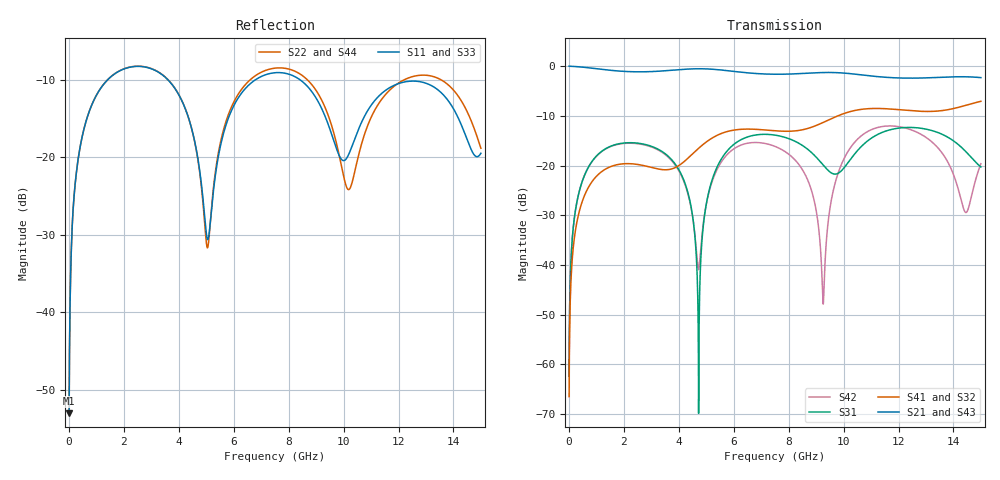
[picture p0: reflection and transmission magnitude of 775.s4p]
! Created with skrf 1.8.0 (http://scikit-rf.org).
# GHz S RI R 50.0
!freq ReS11 ImS11 ReS12 ImS12 ReS13 ImS13
! ReS14 ImS14
! ReS21 ImS21 ReS22 ImS22 ReS23 ImS23
! ReS24 ImS24
! ReS31 ImS31 ReS32 ImS32 ReS33 ImS33
! ReS34 ImS34
! ReS41 ImS41 ReS42 ImS42 ReS43 ImS43
! ReS44 ImS44
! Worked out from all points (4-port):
!   2499 points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, 5 MHz to 15 GHz, reference 50 ohm
!   strongest paths, dB at 5 MHz, 3.476 GHz, 7.19 GHz, 11.1 GHz, 15 GHz:
!     S21: 0.0, -1.0, -1.6, -2.0, -2.3
!     S43: 0.0, -0.9, -1.6, -2.0, -2.3
!     S41: -66.5, -20.9, -12.9, -8.5, -7.1
!     S32: -66.5, -20.9, -12.9, -8.6, -7.1
!     S31: -62.4, -17.5, -13.7, -14.2, -20.3
!     S42: -62.4, -17.7, -15.6, -12.6, -19.6
!   lowest |S11| = -53.1 dB at 5 MHz (marker M1), VSWR 1.00, Z = 50.2 + j0.134 ohm
!   |S11| at or under -10 dB: start of sweep to 1.4 GHz; 3.61 GHz to 6.777 GHz (3.167 GHz wide, 61 % of centre); 8.426 GHz to end of sweep
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0.005  0.00177 0.00134  0.9982 -0.00345  9.14e-05 0.000755  -8.84e-05 -0.000465
       0.9982 -0.00345  0.00177 0.00134  -8.84e-05 -0.000465  9.13e-05 0.000755
       9.14e-05 0.000755  -8.84e-05 -0.000465  0.00177 0.00134  0.9982 -0.00345
       -8.84e-05 -0.000465  9.13e-05 0.000755  0.9982 -0.00345  0.00177 0.00134
1.519383  0.2852 0.1681  0.51 -0.7499  0.145 0.0586  -0.0975 0.00112
          0.51 -0.7499  0.2865 0.167  -0.0974 0.000932  0.1417 0.0634
          0.145 0.0586  -0.0974 0.000932  0.2852 0.168  0.51 -0.7498
          -0.0975 0.00112  0.1417 0.0634  0.51 -0.7498  0.2864 0.1671
4.720717  0.0451 -0.0801  -0.8999 -0.2727  -0.000241 -0.000213  -0.0376 0.1442
          -0.8999 -0.2727  0.0409 -0.0802  -0.04 0.1436  -0.00897 -0.000547
          -0.000241 -0.000213  -0.04 0.1436  0.0447 -0.0791  -0.9001 -0.2725
          -0.0376 0.1442  -0.00897 -0.000547  -0.9001 -0.2725  0.0407 -0.0791
5.889954  0.1295 0.1467  -0.7974 0.399  0.1278 0.0842  0.1312 0.1816
          -0.7974 0.399  0.1369 0.1545  0.1281 0.1832  0.0917 0.1049
          0.1278 0.0842  0.1281 0.1832  0.131 0.1481  -0.7971 0.3989
          0.1312 0.1816  0.0917 0.1049  -0.7971 0.3989  0.1368 0.1556
9.253856  0.1609 -0.1148  0.6424 0.5742  -0.064 -0.0786  0.1712 -0.2099
          0.6424 0.5742  0.1528 -0.1647  0.1778 -0.2044  0.0039 0.00118
          -0.064 -0.0786  0.1778 -0.2044  0.1617 -0.118  0.6405 0.5755
          0.1712 -0.2099  0.0039 0.00118  0.6405 0.5755  0.1556 -0.1657
10.17924  0.1005 0.0264  0.8361 0.1071  -0.0355 0.1026  0.0304 -0.3435
          0.8361 0.1071  0.0613 -0.00866  0.0401 -0.3425  0.0377 0.1362
          -0.0355 0.1026  0.0401 -0.3425  0.1011 0.0238  0.8358 0.1103
          0.0304 -0.3435  0.0377 0.1362  0.8358 0.1103  0.0607 -0.0139
15  0.1023 0.0291  -0.705 -0.298  -0.0968 0.0029  -0.153 0.4149
    -0.705 -0.298  0.084 -0.078  -0.1763 0.4063  0.0537 0.0893
    -0.0968 0.0029  -0.1763 0.4063  0.0803 0.0292  -0.7046 -0.3015
    -0.153 0.4149  0.0537 0.0893  -0.7046 -0.3015  0.0956 -0.0678
